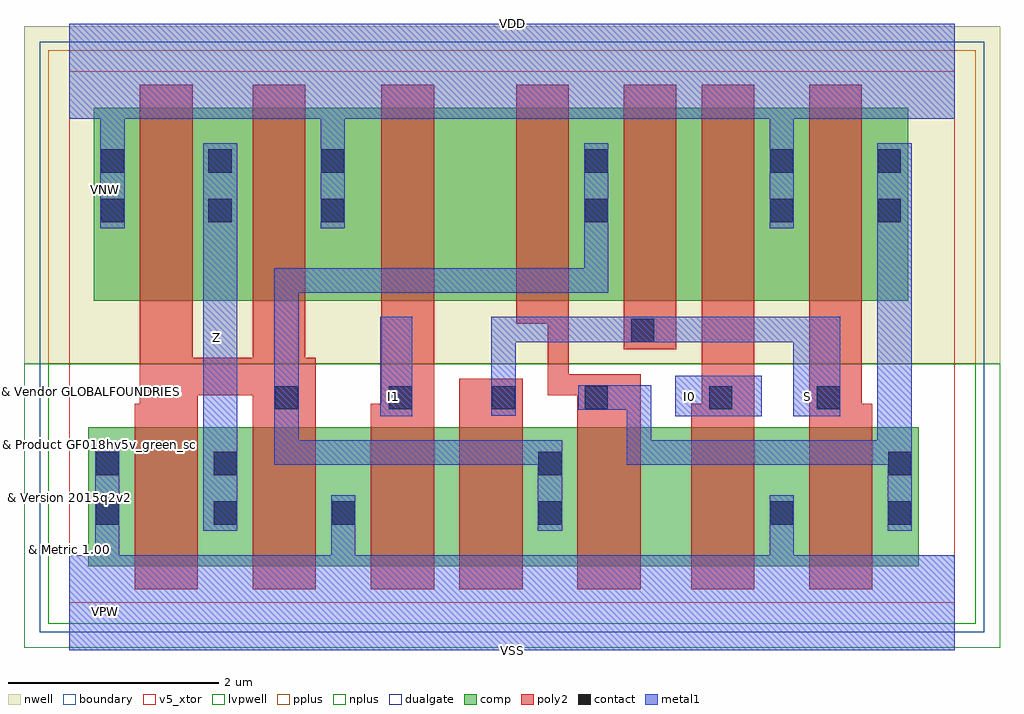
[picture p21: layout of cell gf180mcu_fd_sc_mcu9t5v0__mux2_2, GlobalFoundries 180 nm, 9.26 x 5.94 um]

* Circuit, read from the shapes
.subckt gf180mcu_fd_sc_mcu9t5v0__mux2_2 I0 I1 S VDD VNW VSS Z
XM1 Z n1 VSS VSUBS nfet_05v0 w=1.32u l=0.6u m=2
XM2 n2 I1 VSS VSUBS nfet_05v0 w=1.32u l=0.6u
XM3 n1 S n2 VSUBS nfet_05v0 w=1.32u l=0.6u
XM4 n3 n4 n1 VSUBS nfet_05v0 w=1.32u l=0.6u
XM5 VSS I0 n3 VSUBS nfet_05v0 w=1.32u l=0.6u
XM6 n4 S VSS VSUBS nfet_05v0 w=1.32u l=0.6u
XM7 Z n1 VDD VNW pfet_05v0 w=1.83u l=0.5u m=2
XM8 n5 I1 VDD VNW pfet_05v0 w=1.83u l=0.5u
XM9 n1 n4 n5 VNW pfet_05v0 w=1.83u l=0.5u
XM10 n6 S n1 VNW pfet_05v0 w=1.83u l=0.5u
XM11 VDD I0 n6 VNW pfet_05v0 w=1.83u l=0.5u
XM12 n4 S VDD VNW pfet_05v0 w=1.83u l=0.5u
.ends

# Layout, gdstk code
import gdstk
lib = gdstk.Library(unit=1e-6, precision=5e-10)
def R(c, l, rs):  # rectangles x0, y0, x1, y1
    for r in rs: c.add(gdstk.rectangle(r[:2], r[2:], *l))
def A(c, l, x, y, w, h, nx, ny, dx, dy):  # array of equal rectangles
    R(c, l, [(x+i*dx, y+j*dy, x+i*dx+w, y+j*dy+h) for i in range(nx) for j in range(ny)])
def P(c, l, *ps):  # polygons
    for p in ps: c.add(gdstk.Polygon(p, *l))
boundary = (0, 0)
nwell = (21, 0)
comp = (22, 0)
poly2 = (30, 0)
pplus = (31, 0)
nplus = (32, 0)
contact = (33, 0)
metal1 = (34, 0)
dualgate = (55, 0)
v5_xtor = (112, 1)
lvpwell = (204, 0)

gf180mcu_fd_sc_mcu9t5v0_ = lib.new_cell('gf180mcu_fd_sc_mcu9t5v0__mux2_2')
R(gf180mcu_fd_sc_mcu9t5v0_, boundary, [(0,0,8.4,5.04)])
R(gf180mcu_fd_sc_mcu9t5v0_, nwell, [(-0.43,2.265,8.83,5.47)])
R(gf180mcu_fd_sc_mcu9t5v0_, comp, [(0.18,0.345,8.06,1.665), (0.23,2.865,7.96,4.695)])
R(gf180mcu_fd_sc_mcu9t5v0_, poly2, [(3.7,0.125,4.3,2.125), (5.26,2.405,5.76,4.915)])
P(gf180mcu_fd_sc_mcu9t5v0_, poly2, [(0.62,0.125),(0.62,1.885),(0.67,1.885),(0.67,4.915),(1.17,4.915),(1.17,2.325),(1.74,2.325),(1.74,4.915),(2.24,4.915),(2.24,2.325),(2.34,2.325),(2.34,0.125),(1.74,0.125),(1.74,1.965),(1.22,1.965),(1.22,0.125)],
  [(2.86,0.125),(2.86,1.885),(2.96,1.885),(2.96,4.915),(3.46,4.915),(3.46,0.125)],
  [(4.82,0.125),(4.82,1.965),(4.54,1.965),(4.54,2.645),(4.24,2.645),(4.24,4.915),(4.74,4.915),(4.74,2.165),(5.42,2.165),(5.42,0.125)],
  [(5.9,0.125),(5.9,1.885),(6,1.885),(6,4.915),(6.5,4.915),(6.5,0.125)],
  [(7.02,0.125),(7.02,4.915),(7.52,4.915),(7.52,1.885),(7.62,1.885),(7.62,0.125)])
R(gf180mcu_fd_sc_mcu9t5v0_, pplus, [(-0.2,2.265,8.6,5.24)])
R(gf180mcu_fd_sc_mcu9t5v0_, nplus, [(-0.2,-0.2,8.6,2.265)])
A(gf180mcu_fd_sc_mcu9t5v0_, contact, 0.25, 0.74, 0.22, 0.22, 3, 1, 1.12, 0)
R(gf180mcu_fd_sc_mcu9t5v0_, contact, [(4.45,0.74,4.67,0.96), (6.65,0.74,6.87,0.96), (7.77,0.74,7.99,0.96), (0.25,1.21,0.47,1.43), (1.37,1.21,1.59,1.43), (4.45,1.21,4.67,1.43), (7.77,1.21,7.99,1.43), (1.95,1.835,2.17,2.055), (3.03,1.835,3.25,2.055), (4.01,1.835,4.23,2.055), (4.89,1.835,5.11,2.055), (6.07,1.835,6.29,2.055), (7.09,1.835,7.31,2.055), (5.33,2.475,5.55,2.695), (0.3,3.61,0.52,3.83), (1.32,3.61,1.54,3.83), (2.39,3.61,2.61,3.83), (4.89,3.61,5.11,3.83), (6.65,3.61,6.87,3.83), (7.67,3.61,7.89,3.83), (0.3,4.08,0.52,4.3), (1.32,4.08,1.54,4.3), (2.39,4.08,2.61,4.3), (4.89,4.08,5.11,4.3), (6.65,4.08,6.87,4.3), (7.67,4.08,7.89,4.3)])
R(gf180mcu_fd_sc_mcu9t5v0_, metal1, [(1.27,0.68,1.595,4.36), (2.95,1.77,3.255,2.71), (5.75,1.77,6.57,2.15)])
P(gf180mcu_fd_sc_mcu9t5v0_, metal1, [(4.445,0.68),(4.445,1.31),(1.945,1.31),(1.945,3.17),(4.885,3.17),(4.885,4.36),(5.115,4.36),(5.115,2.94),(2.175,2.94),(2.175,1.54),(4.675,1.54),(4.675,0.68)],
  [(6.87,1.77),(6.87,2.47),(4.235,2.47),(4.235,1.775),(4.005,1.775),(4.005,2.71),(7.315,2.71),(7.315,1.77)],
  [(7.765,0.68),(7.765,1.31),(5.29,1.31),(5.29,1.83),(4.83,1.83),(4.83,2.06),(5.52,2.06),(5.52,1.54),(7.665,1.54),(7.665,4.36),(7.995,4.36),(7.995,0.68)],
  [(0,-0.45),(0,0.45),(0.245,0.45),(0.245,1.49),(0.475,1.49),(0.475,0.45),(2.485,0.45),(2.485,1.02),(2.715,1.02),(2.715,0.45),(6.645,0.45),(6.645,1.02),(6.875,1.02),(6.875,0.45),(8.4,0.45),(8.4,-0.45)],
  [(0.295,3.55),(0.295,4.59),(0,4.59),(0,5.49),(8.4,5.49),(8.4,4.59),(6.875,4.59),(6.875,3.55),(6.645,3.55),(6.645,4.59),(2.615,4.59),(2.615,3.55),(2.385,3.55),(2.385,4.59),(0.525,4.59),(0.525,3.55)])
R(gf180mcu_fd_sc_mcu9t5v0_, dualgate, [(-0.28,-0.28,8.68,5.32)])
R(gf180mcu_fd_sc_mcu9t5v0_, v5_xtor, [(0,0,8.4,5.04)])
R(gf180mcu_fd_sc_mcu9t5v0_, lvpwell, [(-0.43,-0.43,8.83,2.265)])
gf180mcu_fd_sc_mcu9t5v0_.add(gdstk.Label('I0', (5.88,1.96), layer=34, texttype=10))
gf180mcu_fd_sc_mcu9t5v0_.add(gdstk.Label('I1', (3.08,1.96), layer=34, texttype=10))
gf180mcu_fd_sc_mcu9t5v0_.add(gdstk.Label('S', (7,1.96), layer=34, texttype=10))
gf180mcu_fd_sc_mcu9t5v0_.add(gdstk.Label('VDD', (4.2,5.49), layer=34, texttype=10))
gf180mcu_fd_sc_mcu9t5v0_.add(gdstk.Label('VSS', (4.2,-0.45), layer=34, texttype=10))
gf180mcu_fd_sc_mcu9t5v0_.add(gdstk.Label('Z', (1.4,2.52), layer=34, texttype=10))
gf180mcu_fd_sc_mcu9t5v0_.add(gdstk.Label('& Vendor GLOBALFOUNDRIES', (0,2), layer=63, texttype=63))
gf180mcu_fd_sc_mcu9t5v0_.add(gdstk.Label('& Product GF018hv5v_green_sc9', (0,1.5), layer=63, texttype=63))
gf180mcu_fd_sc_mcu9t5v0_.add(gdstk.Label('& Version 2015q2v2', (0,1), layer=63, texttype=63))
gf180mcu_fd_sc_mcu9t5v0_.add(gdstk.Label('& Metric 1.00', (0,0.5), layer=63, texttype=63))
gf180mcu_fd_sc_mcu9t5v0_.add(gdstk.Label('VNW', (0.345,3.92), layer=21, texttype=10))
gf180mcu_fd_sc_mcu9t5v0_.add(gdstk.Label('VPW', (0.34,-0.085), layer=204, texttype=10))

lib.write_gds('gf180mcu_fd_sc_mcu9t5v0__mux2_2.gds')
